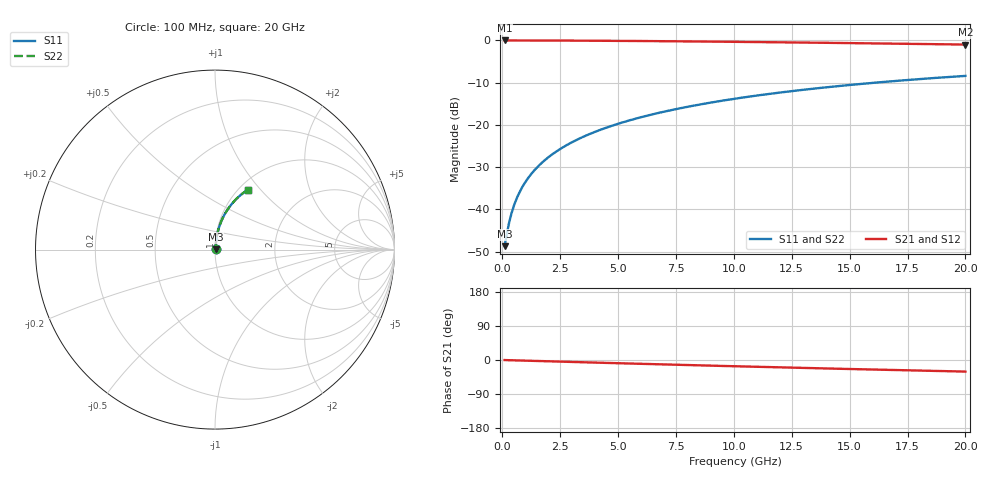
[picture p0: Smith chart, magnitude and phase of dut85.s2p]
! Touchstone file exported from HFSS 2024.1.0
!  File:  C:/UserFiles/LocalFiles/RDL_TSV_Batchsim/temp_RDL_top_85_1778682612.aedt
!  Generated:  10:32:52 PM May 13, 2026
!  Design:  RDL_top
!  Project:  temp_RDL_top_85_1778682612
!  Setup:  Setup1
!  Solution:  Sweep
! Variables:
!  dtsv = 10.80580581um
!  hbump = 3um
!  htsv = 99.83um
!  ldown = 100um
!  lrdl = 352.61um
!  p = 40
!  p1 = 51.16um
!  rhole = 1um
!  t = 450um
!  tdown = 3.915915916um
!  trdl = 3.8um
!  wdown = 15.38538539um
!  wrdl = 11.39um
# GHz S MA R 50.000000
! Terminal data exported
! Port[1] = Box2_T1
! Port[2] = Box2_T2
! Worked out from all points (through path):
!   200 points, 100 MHz to 20 GHz, reference 50 ohm
!   highest |S21| = -0.03 dB at 100 MHz (marker M1); lowest = -1.0 dB at 20 GHz (marker M2)
!   group delay of S21, straight-line fit = 4.24 ps
!   lowest |S11| = -48.7 dB at 100 MHz (marker M3), VSWR 1.01, Z = 50.3 + j0.214 ohm
!   |S11| at or under -10 dB: start of sweep to 16.15 GHz
!   |S22| runs from -48.7 to -8.4 dB; largest |S21 - S12| = 2e-15
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0.1  0.003661 35.5  0.997 -0.2  0.997 -0.2  0.003661 35.5
! Gamma 0 0 0 0
! Port Impedance 50 0 50 0
0.2  0.00521 54.5  0.997 -0.4  0.997 -0.4  0.00521 54.5
0.3  0.007056 64.0  0.9969 -0.5  0.9969 -0.5  0.007056 64.0
0.4  0.009004 69.4  0.9968 -0.7  0.9968 -0.7  0.009004 69.4
0.5  0.01099 72.7  0.9967 -0.9  0.9967 -0.9  0.01099 72.7
0.6  0.013 75.0  0.9967 -1.0  0.9967 -1.0  0.013 75.0
0.8  0.01704 77.9  0.9965 -1.4  0.9965 -1.4  0.01704 77.9
1.1  0.02312 80.2  0.9961 -1.9  0.9961 -1.9  0.02312 80.2
1.5  0.03128 81.7  0.9956 -2.6  0.9956 -2.6  0.03128 81.7
1.8  0.03741 82.3  0.9952 -3.1  0.9952 -3.1  0.03741 82.3
2.1  0.04356 82.6  0.9947 -3.6  0.9947 -3.6  0.04356 82.6
2.7  0.05585 82.7  0.9934 -4.6  0.9934 -4.6  0.05585 82.7
3.5  0.07225 82.4  0.9913 -6.0  0.9913 -6.0  0.07225 82.4
4.2  0.08657 81.8  0.989 -7.2  0.989 -7.2  0.08657 81.8
5  0.1029 81.0  0.9861 -8.5  0.9861 -8.5  0.1029 81.0
5.9  0.1212 80.0  0.9823 -10.0  0.9823 -10.0  0.1212 80.0
6.8  0.1394 78.9  0.9782 -11.4  0.9782 -11.4  0.1394 78.9
8.3  0.1694 77.0  0.9705 -13.8  0.9705 -13.8  0.1694 77.0
10.1  0.2048 74.6  0.9602 -16.6  0.9602 -16.6  0.2048 74.6
13.4  0.2673 70.1  0.9391 -21.5  0.9391 -21.5  0.2673 70.1
16.7  0.3258 65.6  0.916 -26.2  0.916 -26.2  0.3258 65.6
20  0.3796 61.3  0.8914 -30.6  0.8914 -30.6  0.3796 61.3
